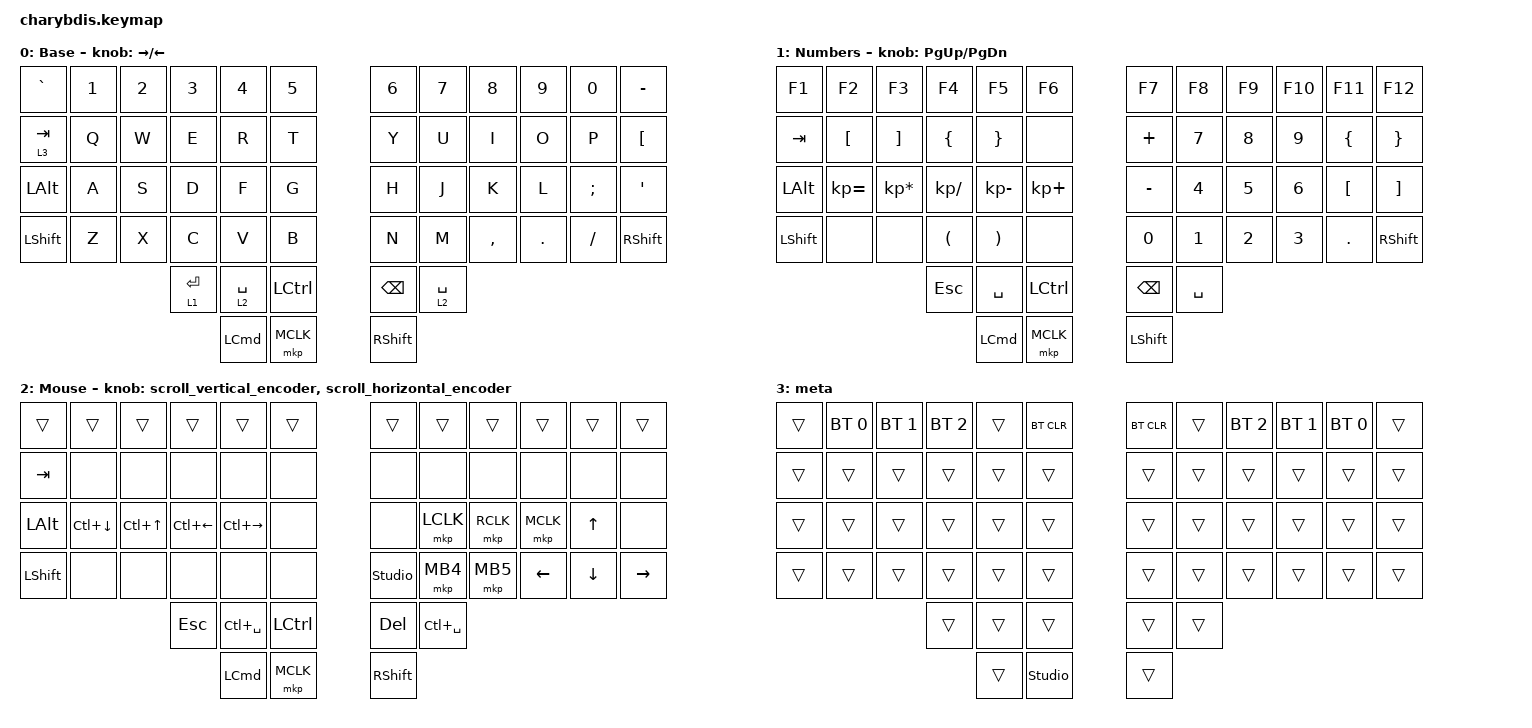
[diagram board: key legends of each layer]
#include <dt-bindings/zmk/mouse.h>
#include <input/processors.dtsi>
#include <zephyr/dt-bindings/input/input-event-codes.h>
#include <behaviors.dtsi>
#include <dt-bindings/zmk/bt.h>
#include <dt-bindings/zmk/keys.h>
#include <dt-bindings/zmk/pointing.h>

&lt {
    tapping-term-ms = <200>;
    flavor = "balanced";
    quick-tap-ms = <150>;
};

&mmv_input_listener { input-processors = <&zip_xy_scaler 2 1>; };

&msc_input_listener { input-processors = <&zip_scroll_scaler 2 1>; };

&msc {
    acceleration-exponent = <0>;      // 0
    time-to-max-speed-ms = <100>;       // 300
    delay-ms = <0>;                   // 0
};

&mmv {
    time-to-max-speed-ms = <500>;
    acceleration-exponent = <1>;
    trigger-period-ms = <16>;
};

/ {
    // 上下滚动编码器行为

    scroll_vertical_encoder: scroll_vertical_encoder {
        compatible = "zmk,behavior-sensor-rotate";
        #sensor-binding-cells = <0>;
        bindings = <&msc SCRL_DOWN>, <&msc SCRL_UP>;

        tap-ms = <100>;
    };

    // 左右滚动编码器行为

    scroll_horizontal_encoder: scroll_horizontal_encoder {
        compatible = "zmk,behavior-sensor-rotate";
        #sensor-binding-cells = <0>;
        bindings = <&msc SCRL_LEFT>, <&msc SCRL_RIGHT>;

        tap-ms = <100>;
    };

    combos { compatible = "zmk,combos"; };

    behaviors {
    };

    keymap {
        compatible = "zmk,keymap";

        Base {
            bindings = <
&kp GRAVE       &kp N1  &kp N2  &kp N3       &kp N4       &kp N5       &kp N6           &kp N7       &kp N8     &kp N9   &kp N0     &kp MINUS
&lt 3 TAB       &kp Q   &kp W   &kp E        &kp R        &kp T        &kp Y            &kp U        &kp I      &kp O    &kp P      &kp LEFT_BRACKET
&kp LEFT_ALT    &kp A   &kp S   &kp D        &kp F        &kp G        &kp H            &kp J        &kp K      &kp L    &kp SEMI   &kp APOS
&kp LEFT_SHIFT  &kp Z   &kp X   &kp C        &kp V        &kp B        &kp N            &kp M        &kp COMMA  &kp DOT  &kp SLASH  &kp RIGHT_SHIFT
                                &lt 1 ENTER  &lt 2 SPACE  &kp LCTRL    &kp BACKSPACE    &lt 2 SPACE
                                             &kp LCMD     &mkp MCLK    &kp RIGHT_SHIFT
            >;

            sensor-bindings = <&inc_dec_kp RIGHT_ARROW LEFT_ARROW>;
        };

        Numbers {
            bindings = <
&kp F1          &kp F2            &kp F3             &kp F4                &kp F5                 &kp F6         &kp F7          &kp F8        &kp F9  &kp F10       &kp F11           &kp F12
&kp TAB         &kp LEFT_BRACKET  &kp RIGHT_BRACKET  &kp LEFT_BRACE        &kp RIGHT_BRACE        &none          &kp PLUS        &kp N7        &kp N8  &kp N9        &kp LEFT_BRACE    &kp RIGHT_BRACE
&kp LEFT_ALT    &kp KP_EQUAL      &kp KP_MULTIPLY    &kp KP_DIVIDE         &kp KP_MINUS           &kp KP_PLUS    &kp MINUS       &kp NUMBER_4  &kp N5  &kp NUMBER_6  &kp LEFT_BRACKET  &kp RIGHT_BRACKET
&kp LEFT_SHIFT  &none             &none              &kp LEFT_PARENTHESIS  &kp RIGHT_PARENTHESIS  &none          &kp N0          &kp NUMBER_1  &kp N2  &kp N3        &kp DOT           &kp RIGHT_SHIFT
                                                     &kp ESCAPE            &kp SPACE              &kp LCTRL      &kp BACKSPACE   &kp SPACE
                                                                           &kp LCMD               &mkp MCLK      &kp LEFT_SHIFT
            >;

            sensor-bindings = <&inc_dec_kp PG_UP PG_DN>;
        };

        Mouse {
            bindings = <
&trans      &trans              &trans            &trans              &trans         &trans       &trans           &trans         &trans     &trans          &trans          &trans
&kp TAB     &none               &none             &none               &none          &none        &none            &none          &none      &none           &none           &none
&kp LALT    &kp LC(DOWN_ARROW)  &kp LC(UP_ARROW)  &kp LC(LEFT_ARROW)  &kp LC(RIGHT)  &none        &none            &mkp LCLK      &mkp RCLK  &mkp MCLK       &kp UP_ARROW    &none
&kp LSHIFT  &none               &none             &none               &none          &none        &studio_unlock   &mkp MB4       &mkp MB5   &kp LEFT_ARROW  &kp DOWN_ARROW  &kp RIGHT_ARROW
                                                  &kp ESCAPE          &kp LC(SPACE)  &kp LCTRL    &kp DEL          &kp LC(SPACE)
                                                                      &kp LCMD       &mkp MCLK    &kp RIGHT_SHIFT
            >;

            sensor-bindings =
                <&scroll_vertical_encoder>,
                <&scroll_horizontal_encoder>;
        };

        meta {
            bindings = <
&trans  &bt BT_SEL 0  &bt BT_SEL 1  &bt BT_SEL 2  &trans  &bt BT_CLR        &bt BT_CLR  &trans  &bt BT_SEL 2  &bt BT_SEL 1  &bt BT_SEL 0  &trans
&trans  &trans        &trans        &trans        &trans  &trans            &trans      &trans  &trans        &trans        &trans        &trans
&trans  &trans        &trans        &trans        &trans  &trans            &trans      &trans  &trans        &trans        &trans        &trans
&trans  &trans        &trans        &trans        &trans  &trans            &trans      &trans  &trans        &trans        &trans        &trans
                                    &trans        &trans  &trans            &trans      &trans
                                                  &trans  &studio_unlock    &trans
            >;
        };
    };
};
